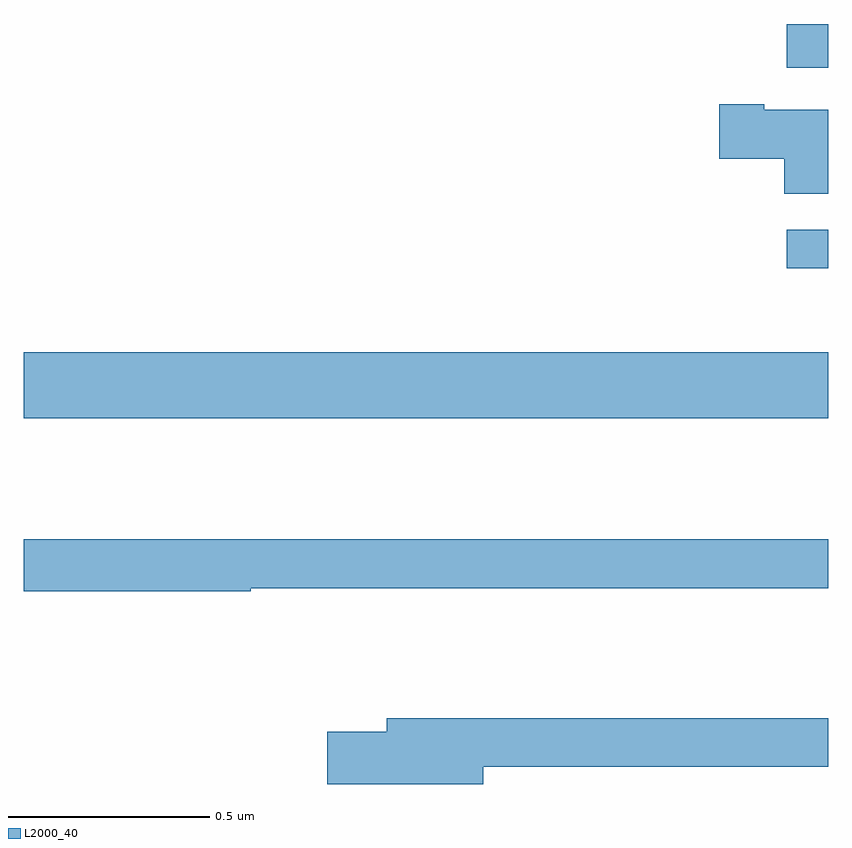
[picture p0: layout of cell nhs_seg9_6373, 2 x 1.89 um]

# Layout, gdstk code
import gdstk
lib = gdstk.Library(unit=1e-6, precision=1e-09)
def R(c, l, rs):  # rectangles x0, y0, x1, y1
    for r in rs: c.add(gdstk.rectangle(r[:2], r[2:], *l))
def P(c, l, *ps):  # polygons
    for p in ps: c.add(gdstk.Polygon(p, *l))
L2000_40 = (2000, 40)

nhs_seg9_6373 = lib.new_cell('nhs_seg9_6373')
R(nhs_seg9_6373, L2000_40, [(191,1192.424,193,1192.588), (192.897,1192.797,193,1192.893), (192.897,1193.295,193,1193.404)])
P(nhs_seg9_6373, L2000_40, [(193,1193.191),(192.841,1193.191),(192.841,1193.204),(192.729,1193.204),(192.729,1193.069),(192.89,1193.069),(192.89,1192.982),(193,1192.982)],
  [(191.564,1192.002),(193,1192.002),(193,1192.123),(191,1192.123),(191,1191.994),(191.564,1191.994)],
  [(192.142,1191.558),(193,1191.558),(193,1191.679),(191.903,1191.679),(191.903,1191.645),(191.754,1191.645),(191.754,1191.515),(192.142,1191.515)])

lib.write_gds('nhs_seg9_6373.gds')
